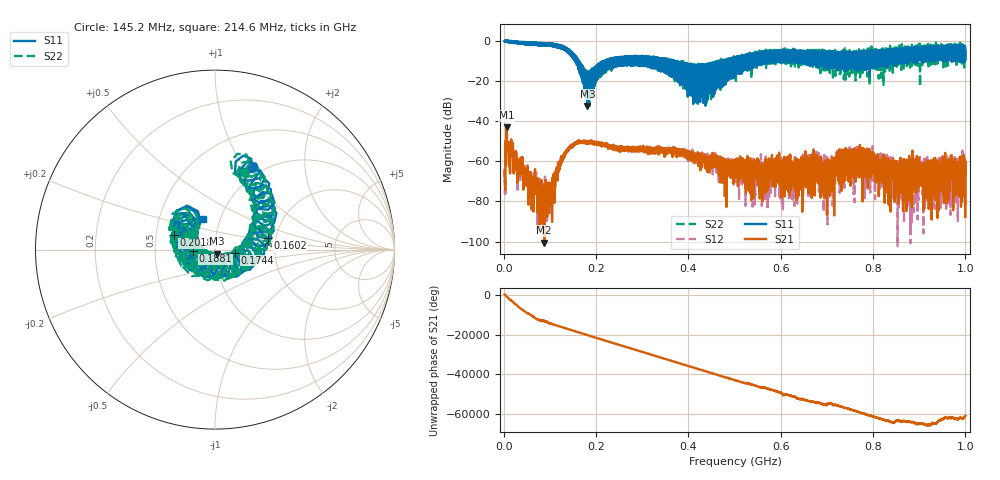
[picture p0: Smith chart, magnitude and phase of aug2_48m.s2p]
!Keysight Technologies N9923A: A.12.45
!Date: Saturday, 02 August 2025 20:03:15
!Timezone: (UTC+08:00) Kuala Lumpur, Singapore
!Model: N9923A
!Serial: MY61181427
!GPS Latitude:
!GPS Longitude:
!GPS TimeStamp: 0001-01-01 00:00:00Z
!GPS Seconds Since Last Read: 0
!CHECKSUM:1068642128
!Correction: S11(ON U)S21(ON U)S12(ON U)S22(ON U)
!S2P File: Measurements:S11,S21,S12,S22:
# Hz S DB R 50
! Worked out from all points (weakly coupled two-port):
!   4001 points, 2 MHz to 1 GHz, reference 50 ohm
!   highest |S21| = -43.05 dB at 6.491 MHz (marker M1); lowest = -100.5 dB at 87.83 MHz (marker M2)
!   lowest |S11| = -32.4 dB at 181.1 MHz (marker M3), VSWR 1.05, Z = 50.9 - j2.23 ohm
!   |S11| at or under -10 dB: 162.3 MHz to 218.5 MHz (56.13 MHz wide, 29.5 % of centre); 218.6 MHz to 220.1 MHz (1.447 MHz wide, 0.66 % of centre); 369.5 MHz to 471.3 MHz (101.8 MHz wide, 24.2 % of centre) (the widest 3 of 362)
!   |S22| runs from -32.4 to 0.2 dB; largest |S21 - S12| = 0.0026
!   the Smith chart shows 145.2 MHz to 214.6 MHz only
!   S11 on the Smith chart (normalised r, x): 145.2 MHz: 0.90, +1.09; 160.2 MHz: 1.81, +0.26; 174.4 MHz: 1.25, -0.04; 188.1 MHz: 0.78, -0.01; 201.8 MHz: 0.62, +0.11; 214.6 MHz: 0.82, +0.30
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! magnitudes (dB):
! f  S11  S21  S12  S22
! 2 MHz  -0.1  -67.5  -65.7  -0.1
! 6.491 MHz  0.0  -43.1  -42.9  0.1
! 20.71 MHz  -1.0  -58.6  -57.1  -0.8
! 31.69 MHz  -0.5  -63.4  -66.3  -0.5
! 87.83 MHz  -2.4  -100.5  -76.4  -2.1
! 145.2 MHz  -6.0  -52.5  -53.2  -6.7
! 160.2 MHz  -10.4  -50.6  -50.6  -11.5
! 168.4 MHz  -14.9  -50.2  -49.9  -16.4
! 174.4 MHz  -18.9  -50.5  -50.2  -15.9
! 181.1 MHz  -32.4  -50.4  -50.7  -20.0
! 188.1 MHz  -18.3  -50.3  -50.5  -24.4
! 201.8 MHz  -12.2  -51.7  -51.1  -13.0
! 214.6 MHz  -14.6  -52.4  -51.5  -16.4
! 334.8 MHz  -12.4  -53.2  -53.0  -8.9
! 415.4 MHz  -30.6  -60.3  -57.4  -13.5
! 501 MHz  -11.5  -60.6  -60.9  -12.5
! 621.3 MHz  -9.9  -74.4  -69.6  -4.5
! 667.4 MHz  -5.6  -59.3  -63.7  -9.6
! 699.1 MHz  -8.8  -67.8  -63.6  -7.1
! 782.9 MHz  -14.5  -66.1  -56.9  -5.0
! 833.8 MHz  -5.3  -66.3  -61.7  -5.1
! 1 GHz  -5.1  -66.5  -68.6  -1.8
